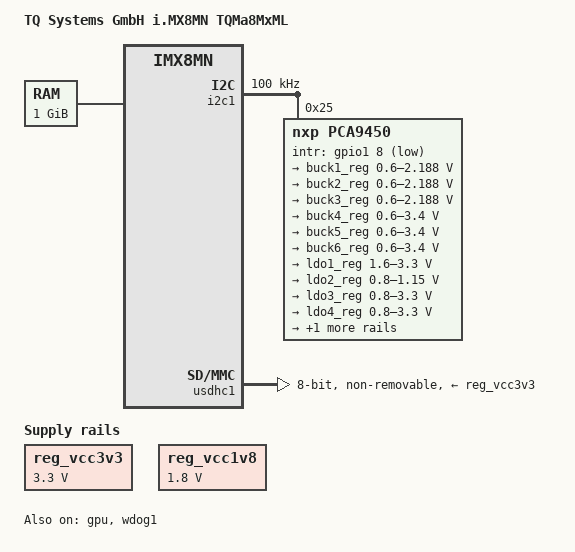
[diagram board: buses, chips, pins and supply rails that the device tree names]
// SPDX-License-Identifier: (GPL-2.0-or-later OR MIT)
/*
 * Copyright 2020-2021 TQ-Systems GmbH
 */

/ {
	model = "TQ Systems GmbH i.MX8MN TQMa8MxML";
	compatible = "tq,imx8mn-tqma8mxml", "fsl,imx8mn";

	chosen {
	};

	memory@40000000 {
		device_type = "memory";
		/*  our minimum RAM config will be 1024 MiB */
		reg = <0x00000000 0x40000000 0 0x40000000>;
	};

	reg_vcc3v3: regulator-vcc3v3 {
		compatible = "regulator-fixed";
		regulator-name = "TQMA8MXNL_VCC3V3";
		regulator-min-microvolt = <3300000>;
		regulator-max-microvolt = <3300000>;
		regulator-always-on;
	};

	/* e-MMC IO, needed for HS modes */
	reg_vcc1v8: regulator-vcc1v8 {
		compatible = "regulator-fixed";
		regulator-name = "TQMA8MXNL_VCC1V8";
		regulator-min-microvolt = <1800000>;
		regulator-max-microvolt = <1800000>;
		regulator-always-on;
	};

	reserved-memory {
		#address-cells = <2>;
		#size-cells = <2>;
		ranges;

		/* global autoconfigured region for contiguous allocations */
		linux,cma {
			compatible = "shared-dma-pool";
			reusable;
			/* 640 MiB */
			size = <0 0x28000000>;
			/*  1024 - 128 MiB, our minimum RAM config will be 1024 MiB */
			alloc-ranges = <0 0x40000000 0 0x78000000>;
			linux,cma-default;
		};
	};
};

&A53_0 {
	cpu-supply = <&buck2_reg>;
};

&A53_1 {
	cpu-supply = <&buck2_reg>;
};

&A53_2 {
	cpu-supply = <&buck2_reg>;
};

&A53_3 {
	cpu-supply = <&buck2_reg>;
};

&gpu {
	status = "okay";
};

&iomuxc {
	pinctrl_i2c1: i2c1grp {
		fsl,pins = <
			MX8MN_IOMUXC_I2C1_SCL_I2C1_SCL		0x40000090
			MX8MN_IOMUXC_I2C1_SDA_I2C1_SDA		0x40000090
		>;
	};

	pinctrl_pmic: pmicgrp {
		fsl,pins = <
			MX8MN_IOMUXC_GPIO1_IO08_GPIO1_IO8	0x84
		>;
	};

	pinctrl_usdhc1: usdhc1grp {
		fsl,pins = <
			MX8MN_IOMUXC_SD1_CLK_USDHC1_CLK		0x1d4
			MX8MN_IOMUXC_SD1_CMD_USDHC1_CMD		0x1d4
			MX8MN_IOMUXC_SD1_DATA0_USDHC1_DATA0	0x1d4
			MX8MN_IOMUXC_SD1_DATA1_USDHC1_DATA1	0x1d4
			MX8MN_IOMUXC_SD1_DATA2_USDHC1_DATA2	0x1d4
			MX8MN_IOMUXC_SD1_DATA3_USDHC1_DATA3	0x1d4
			MX8MN_IOMUXC_SD1_DATA4_USDHC1_DATA4	0x1d4
			MX8MN_IOMUXC_SD1_DATA5_USDHC1_DATA5	0x1d4
			MX8MN_IOMUXC_SD1_DATA6_USDHC1_DATA6	0x1d4
			MX8MN_IOMUXC_SD1_DATA7_USDHC1_DATA7	0x1d4
			MX8MN_IOMUXC_SD1_STROBE_USDHC1_STROBE 	0x84
			MX8MN_IOMUXC_SD1_RESET_B_USDHC1_RESET_B	0x84
		>;
	};

	pinctrl_usdhc1_100mhz: usdhc1grp100mhz {
		fsl,pins = <
			MX8MN_IOMUXC_SD1_CLK_USDHC1_CLK		0x1d2
			MX8MN_IOMUXC_SD1_CMD_USDHC1_CMD		0x1d2
			MX8MN_IOMUXC_SD1_DATA0_USDHC1_DATA0	0x1d2
			MX8MN_IOMUXC_SD1_DATA1_USDHC1_DATA1	0x1d2
			MX8MN_IOMUXC_SD1_DATA2_USDHC1_DATA2	0x1d2
			MX8MN_IOMUXC_SD1_DATA3_USDHC1_DATA3	0x1d2
			MX8MN_IOMUXC_SD1_DATA4_USDHC1_DATA4	0x1d2
			MX8MN_IOMUXC_SD1_DATA5_USDHC1_DATA5	0x1d2
			MX8MN_IOMUXC_SD1_DATA6_USDHC1_DATA6	0x1d2
			MX8MN_IOMUXC_SD1_DATA7_USDHC1_DATA7	0x1d2
			MX8MN_IOMUXC_SD1_STROBE_USDHC1_STROBE 	0x84
			MX8MN_IOMUXC_SD1_RESET_B_USDHC1_RESET_B	0x84
		>;
	};

	pinctrl_usdhc1_200mhz: usdhc1grp200mhz {
		fsl,pins = <
			MX8MN_IOMUXC_SD1_CLK_USDHC1_CLK		0x1d6
			MX8MN_IOMUXC_SD1_CMD_USDHC1_CMD		0x1d6
			MX8MN_IOMUXC_SD1_DATA0_USDHC1_DATA0	0x1d6
			MX8MN_IOMUXC_SD1_DATA1_USDHC1_DATA1	0x1d6
			MX8MN_IOMUXC_SD1_DATA2_USDHC1_DATA2	0x1d6
			MX8MN_IOMUXC_SD1_DATA3_USDHC1_DATA3	0x1d6
			MX8MN_IOMUXC_SD1_DATA4_USDHC1_DATA4	0x1d6
			MX8MN_IOMUXC_SD1_DATA5_USDHC1_DATA5	0x1d6
			MX8MN_IOMUXC_SD1_DATA6_USDHC1_DATA6	0x1d6
			MX8MN_IOMUXC_SD1_DATA7_USDHC1_DATA7	0x1d6
			MX8MN_IOMUXC_SD1_STROBE_USDHC1_STROBE 	0x84
			MX8MN_IOMUXC_SD1_RESET_B_USDHC1_RESET_B	0x84
		>;
	};

	pinctrl_wdog: wdoggrp {
		fsl,pins = <
			MX8MN_IOMUXC_GPIO1_IO02_WDOG1_WDOG_B	0xc6
		>;
	};
};

&i2c1 {
	clock-frequency = <100000>;
	pinctrl-names = "default";
	pinctrl-0 = <&pinctrl_i2c1>;
	status = "okay";

	pca9450: pmic@25 {
		compatible = "nxp,pca9450";
		reg = <0x25>;

		/* PMIC PCA9450 PMIC_nINT GPIO1_IO08 */
		pinctrl-0 = <&pinctrl_pmic>;
		gpio_intr = <&gpio1 8 GPIO_ACTIVE_LOW>;

		regulators {
			#address-cells = <1>;
			#size-cells = <0>;

			pca9450,pmic-buck2-uses-i2c-dvs;
			/* Run/Standby voltage */
			pca9450,pmic-buck2-dvs-voltage = <950000>, <850000>;

			/* V_0V85_SOC */
			buck1_reg: regulator@0 {
				reg = <0>;
				regulator-compatible = "buck1";
				regulator-min-microvolt = <600000>;
				regulator-max-microvolt = <2187500>;
				regulator-boot-on;
				regulator-always-on;
				regulator-ramp-delay = <3125>;
			};

			/* VDD_ARM */
			buck2_reg: regulator@1 {
				reg = <1>;
				regulator-compatible = "buck2";
				regulator-min-microvolt = <600000>;
				regulator-max-microvolt = <2187500>;
				regulator-boot-on;
				regulator-always-on;
				regulator-ramp-delay = <3125>;
			};

			/* V_0V85_GPU */
			buck3_reg: regulator@2 {
				reg = <2>;
				regulator-compatible = "buck3";
				regulator-min-microvolt = <600000>;
				regulator-max-microvolt = <2187500>;
				regulator-boot-on;
				regulator-always-on;
			};

			/* VCC3V3 -> VMMC,  */
			buck4_reg: regulator@3 {
				reg = <3>;
				regulator-compatible = "buck4";
				regulator-min-microvolt = <600000>;
				regulator-max-microvolt = <3400000>;
				regulator-boot-on;
				regulator-always-on;
			};

			/* V_1V8 -> VQMMC, SPI-NOR, ... must not be changed */
			buck5_reg: regulator@4 {
				reg = <4>;
				regulator-compatible = "buck5";
				regulator-min-microvolt = <600000>;
				regulator-max-microvolt = <3400000>;
				regulator-boot-on;
				regulator-always-on;
			};

			/* V_1V1 -> RAM, ... */
			buck6_reg: regulator@5 {
				reg = <5>;
				regulator-compatible = "buck6";
				regulator-min-microvolt = <600000>;
				regulator-max-microvolt = <3400000>;
				regulator-boot-on;
				regulator-always-on;
			};

			/* V_1V8_SNVS */
			ldo1_reg: regulator@6 {
				reg = <6>;
				regulator-compatible = "ldo1";
				regulator-min-microvolt = <1600000>;
				regulator-max-microvolt = <3300000>;
				regulator-boot-on;
				regulator-always-on;
			};

			/* V_0V8_SNVS */
			ldo2_reg: regulator@7 {
				reg = <7>;
				regulator-compatible = "ldo2";
				regulator-min-microvolt = <800000>;
				regulator-max-microvolt = <1150000>;
				regulator-boot-on;
				regulator-always-on;
			};

			/* V_1V8_ANA */
			ldo3_reg: regulator@8 {
				reg = <8>;
				regulator-compatible = "ldo3";
				regulator-min-microvolt = <800000>;
				regulator-max-microvolt = <3300000>;
				regulator-boot-on;
				regulator-always-on;
			};

			/* V_0V9_MIPI */
			ldo4_reg: regulator@9 {
				reg = <9>;
				regulator-compatible = "ldo4";
				regulator-min-microvolt = <800000>;
				regulator-max-microvolt = <3300000>;
				regulator-boot-on;
				regulator-always-on;
			};

			/* VCC SD IO - switched using SD2 VSELECT */
			ldo5_reg: regulator@10 {
				reg = <10>;
				regulator-compatible = "ldo5";
				regulator-min-microvolt = <1800000>;
				regulator-max-microvolt = <3300000>;
			};
		};
	};
};

&rpmsg{
	status = "disabled";
};

&usdhc1 {
	pinctrl-names = "default", "state_100mhz", "state_200mhz";
	pinctrl-0 = <&pinctrl_usdhc1>;
	pinctrl-1 = <&pinctrl_usdhc1_100mhz>;
	pinctrl-2 = <&pinctrl_usdhc1_200mhz>;
	bus-width = <8>;
	non-removable;
	no-sd;
	no-sdio;
	vmmc-supply = <&reg_vcc3v3>;
	vqmmc-supply = <&reg_vcc1v8>;

	status = "okay";
};

&wdog1 {
	pinctrl-names = "default";
	pinctrl-0 = <&pinctrl_wdog>;
	fsl,ext-reset-output;
	status = "okay";
};
